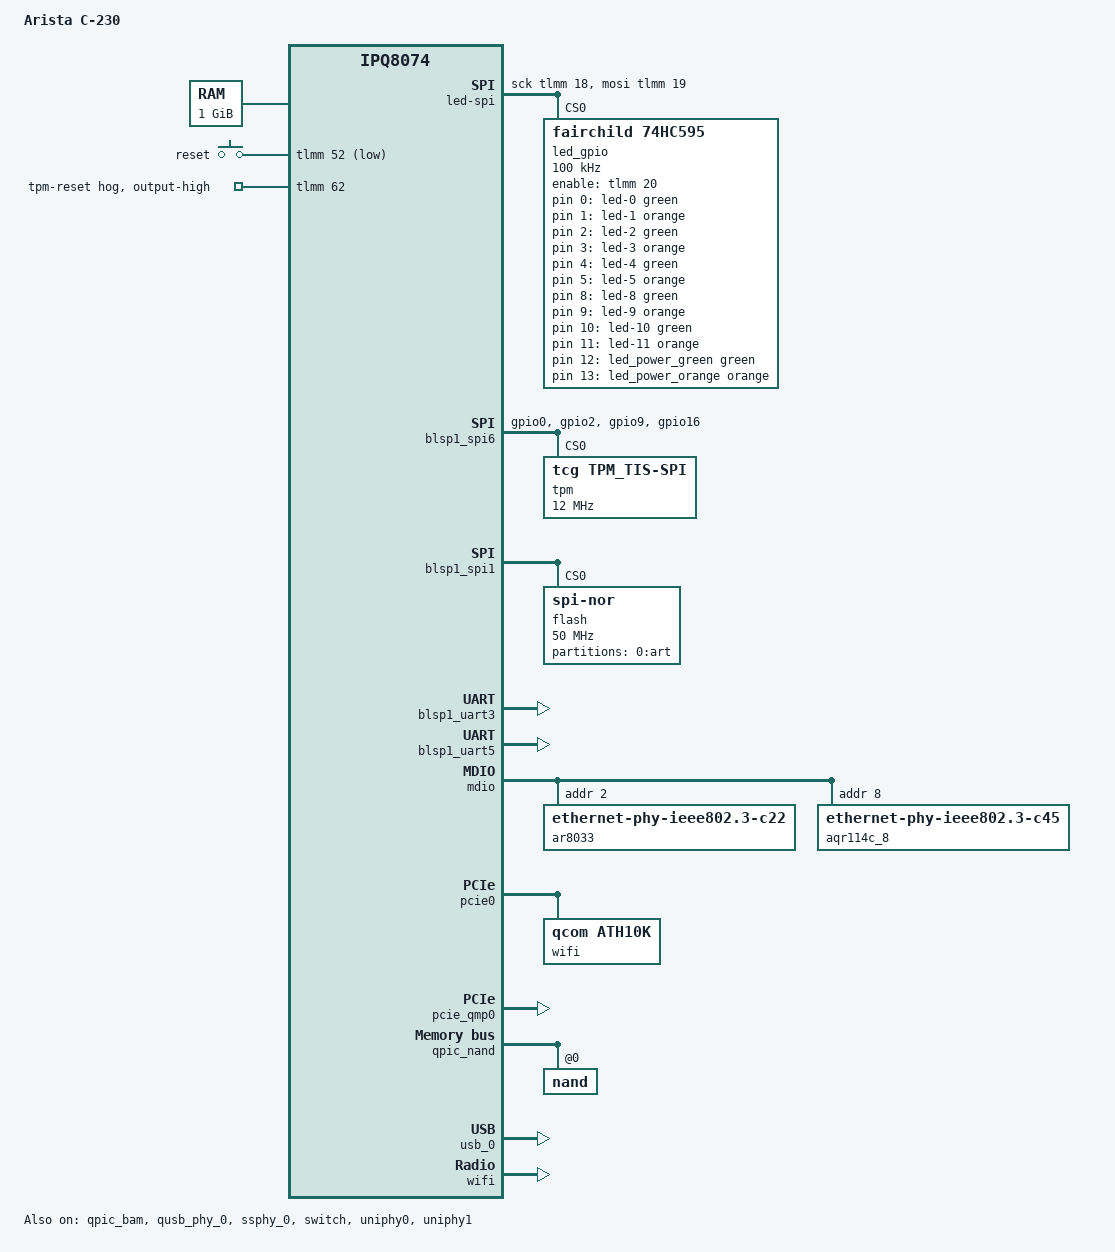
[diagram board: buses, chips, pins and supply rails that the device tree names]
// SPDX-License-Identifier: GPL-2.0-or-later OR MIT

/dts-v1/;

#include "ipq8074.dtsi"
#include "ipq8074-ac-cpu.dtsi"
#include "ipq8074-ess.dtsi"
#include "ipq8074-nss.dtsi"
#include <dt-bindings/gpio/gpio.h>
#include <dt-bindings/input/input.h>
#include <dt-bindings/leds/common.h>

/ {
	model = "Arista C-230";
	compatible = "arista,c-230", "qcom,ipq8074";

	aliases {
		serial0 = &blsp1_uart5;
		serial1 = &blsp1_uart3;
		led-boot = &led_power_orange;
		led-failsafe = &led_power_orange;
		led-running = &led_power_green;
		led-upgrade = &led_power_orange;
		label-mac-device = &port_lan1;
	};

	chosen {
		stdout-path = "serial0:115200n8";
		bootargs-append = " ubi.mtd=rootfs root=/dev/ubiblock0_1";
	};

	memory@40000000 {
		device_type = "memory";
		reg = <0x0 0x40000000 0x0 0x40000000>;
	};

	keys {
		compatible = "gpio-keys";
		pinctrl-0 = <&button_pins>;
		pinctrl-names = "default";

		reset {
			label = "reset";
			gpios = <&tlmm 52 GPIO_ACTIVE_LOW>;
			linux,code = <KEY_RESTART>;
		};
	};

	led-spi {
		compatible = "spi-gpio";
		#address-cells = <1>;
		#size-cells = <0>;
		sck-gpios = <&tlmm 18 GPIO_ACTIVE_HIGH>;
		mosi-gpios = <&tlmm 19 GPIO_ACTIVE_HIGH>;

		led_gpio: led-gpio@0 {
			compatible = "fairchild,74hc595";
			reg = <0>;
			enable-gpios = <&tlmm 20 GPIO_ACTIVE_HIGH>;
			spi-max-frequency = <100000>;
			gpio-controller;
			#gpio-cells = <2>;
			registers-number = <2>;
		};
	};

	leds {
		compatible = "gpio-leds";

		led-0 {
			color = <LED_COLOR_ID_GREEN>;
			function = LED_FUNCTION_LAN;
			function-enumerator = <2>;
			gpios = <&led_gpio 0 GPIO_ACTIVE_HIGH>;
		};

		led-1 {
			color = <LED_COLOR_ID_ORANGE>;
			function = LED_FUNCTION_LAN;
			function-enumerator = <2>;
			gpios = <&led_gpio 1 GPIO_ACTIVE_HIGH>;
		};

		led-2 {
			color = <LED_COLOR_ID_GREEN>;
			function = LED_FUNCTION_LAN;
			function-enumerator = <1>;
			gpios = <&led_gpio 2 GPIO_ACTIVE_HIGH>;
		};

		led-3 {
			color = <LED_COLOR_ID_ORANGE>;
			function = LED_FUNCTION_LAN;
			function-enumerator = <1>;
			gpios = <&led_gpio 3 GPIO_ACTIVE_HIGH>;
		};

		/* the QCA9882: "multifunction" on the panel */
		led-4 {
			color = <LED_COLOR_ID_GREEN>;
			function = LED_FUNCTION_WLAN;
			gpios = <&led_gpio 4 GPIO_ACTIVE_HIGH>;
		};

		led-5 {
			color = <LED_COLOR_ID_ORANGE>;
			function = LED_FUNCTION_WLAN;
			gpios = <&led_gpio 5 GPIO_ACTIVE_HIGH>;
		};

		led-8 {
			color = <LED_COLOR_ID_GREEN>;
			function = LED_FUNCTION_WLAN_5GHZ;
			gpios = <&led_gpio 8 GPIO_ACTIVE_HIGH>;
		};

		led-9 {
			color = <LED_COLOR_ID_ORANGE>;
			function = LED_FUNCTION_WLAN_5GHZ;
			gpios = <&led_gpio 9 GPIO_ACTIVE_HIGH>;
		};

		led-10 {
			color = <LED_COLOR_ID_GREEN>;
			function = LED_FUNCTION_WLAN_2GHZ;
			gpios = <&led_gpio 10 GPIO_ACTIVE_HIGH>;
		};

		led-11 {
			color = <LED_COLOR_ID_ORANGE>;
			function = LED_FUNCTION_WLAN_2GHZ;
			gpios = <&led_gpio 11 GPIO_ACTIVE_HIGH>;
		};

		led_power_green: led-12 {
			color = <LED_COLOR_ID_GREEN>;
			function = LED_FUNCTION_POWER;
			gpios = <&led_gpio 12 GPIO_ACTIVE_HIGH>;
		};

		/* the one the bootloader lights ("LED INIT with value 0x2000") */
		led_power_orange: led-13 {
			color = <LED_COLOR_ID_ORANGE>;
			function = LED_FUNCTION_POWER;
			gpios = <&led_gpio 13 GPIO_ACTIVE_HIGH>;
		};
	};
};

&soc {
	/* QUP6 as SPI, for the TPM (ipq8074.dtsi has it only as I2C) */
	blsp1_spi6: spi@78ba000 {
		compatible = "qcom,spi-qup-v2.2.1";
		#address-cells = <1>;
		#size-cells = <0>;
		reg = <0x078ba000 0x600>;
		interrupts = <GIC_SPI 300 IRQ_TYPE_LEVEL_HIGH>;
		clocks = <&gcc GCC_BLSP1_QUP6_SPI_APPS_CLK>,
			 <&gcc GCC_BLSP1_AHB_CLK>;
		clock-names = "core", "iface";
		dmas = <&blsp_dma 22>, <&blsp_dma 23>;
		dma-names = "tx", "rx";
		pinctrl-0 = <&tpm_spi_pins>;
		pinctrl-names = "default";

		/* Infineon SLB 9670 TPM 2.0 */
		tpm@0 {
			compatible = "tcg,tpm_tis-spi";
			reg = <0>;
			spi-max-frequency = <12000000>;
		};
	};
};

&blsp1_spi1 {
	status = "okay";

	flash@0 {
		compatible = "jedec,spi-nor";
		reg = <0>;
		spi-max-frequency = <50000000>;
		partitions {
			compatible = "qcom,smem-part";
			qcom,smem-flash-id = <0>;

			partition-0-art {
				label = "0:art";
				read-only;

				nvmem-layout {
					compatible = "fixed-layout";
					#address-cells = <1>;
					#size-cells = <1>;

					/* 0x6-0x12 and 0x1e hold the reference design's placeholders */
					macaddr_art_0: macaddr@0 {
						reg = <0x0 0x6>;
					};

					macaddr_art_18: macaddr@18 {
						reg = <0x18 0x6>;
					};

					caldata_ipq8074: calibration@1000 {
						reg = <0x1000 0x20000>;
					};

					caldata_qca988x: calibration@33000 {
						reg = <0x33000 0x844>;
					};
				};
			};
		};
	};
};

/*
 * the CSR8811 Bluetooth controller (RTS/CTS; enable on gpio51); it needs
 * its PS keys loaded over BCSP before it runs as an H4 controller
 */
&blsp1_uart3 {
	status = "okay";
};

&blsp1_uart5 {
	status = "okay";
};

&edma {
	status = "okay";
};

/* no reset-gpios: a reset of the AQR114C (gpio44) loses the firmware the bootloader loaded */
&mdio {
	status = "okay";

	/* Ethernet 2 */
	ar8033: ethernet-phy@2 {
		compatible = "ethernet-phy-ieee802.3-c22";
		reg = <2>;
	};

	/* Ethernet 1 */
	aqr114c_8: ethernet-phy@8 {
		compatible = "ethernet-phy-ieee802.3-c45";
		reg = <8>;
	};
};

&pcie0 {
	status = "okay";
	perst-gpios = <&tlmm 58 GPIO_ACTIVE_LOW>;

	pcie@0 {
		/* QCA9882: the third radio, 2.4/5 GHz */
		wifi@0,0 {
			compatible = "qcom,ath10k";
			reg = <0x00010000 0 0 0 0>;
			nvmem-cells = <&caldata_qca988x>;
			nvmem-cell-names = "calibration";
		};
	};
};

&pcie_qmp0 {
	status = "okay";
};

&qpic_bam {
	status = "okay";
};

&qpic_nand {
	status = "okay";

	/* absorbs the partitions the bootloader adds at boot */
	partitions {
		status = "disabled";
	};

	nand@0 {
		reg = <0>;
		nand-ecc-strength = <4>;
		nand-ecc-step-size = <512>;
		nand-bus-width = <8>;
		partitions {
			compatible = "qcom,smem-part";
			qcom,smem-flash-id = <1>;
		};
	};
};

&qusb_phy_0 {
	status = "okay";
};

&ssphy_0 {
	status = "okay";
};

&switch {
	status = "okay";

	ports {
		#address-cells = <1>;
		#size-cells = <0>;

		port@0 {
			reg = <0>;
			ethernet = <&edma>;
			phy-mode = "internal";

			fixed-link {
				speed = <1000>;
				full-duplex;
			};
		};

		port@1 {
			reg = <1>;
			label = "lan2";
			phy-handle = <&ar8033>;
			phy-mode = "sgmii";
			pcs-handle = <&uniphy0 0>;
			nvmem-cells = <&macaddr_art_18>;
			nvmem-cell-names = "mac-address";
		};

		port_lan1: port@5 {
			reg = <5>;
			label = "lan1";
			phy-handle = <&aqr114c_8>;
			phy-mode = "usxgmii";
			managed = "in-band-status";
			pcs-handle = <&uniphy1 0>;
			nvmem-cells = <&macaddr_art_0>;
			nvmem-cell-names = "mac-address";
		};
	};
};

&tlmm {
	button_pins: button-state {
		pins = "gpio52";
		function = "gpio";
		drive-strength = <8>;
		bias-pull-up;
	};

	/* the TPM is held in reset while gpio62 is low */
	tpm-reset-hog {
		gpio-hog;
		gpios = <62 GPIO_ACTIVE_HIGH>;
		output-high;
		line-name = "tpm-reset";
	};

	tpm_spi_pins: tpm-spi-state {
		pins = "gpio0", "gpio2", "gpio9", "gpio16";
		function = "blsp5_spi";
		drive-strength = <8>;
		bias-disable;
	};
};

&uniphy0 {
	status = "okay";
};

&uniphy1 {
	status = "okay";
};

&usb_0 {
	status = "okay";
};

&wifi {
	status = "okay";
	qcom,calibration-variant = "Arista-C230";
	nvmem-cells = <&caldata_ipq8074>;
	nvmem-cell-names = "calibration";
};
